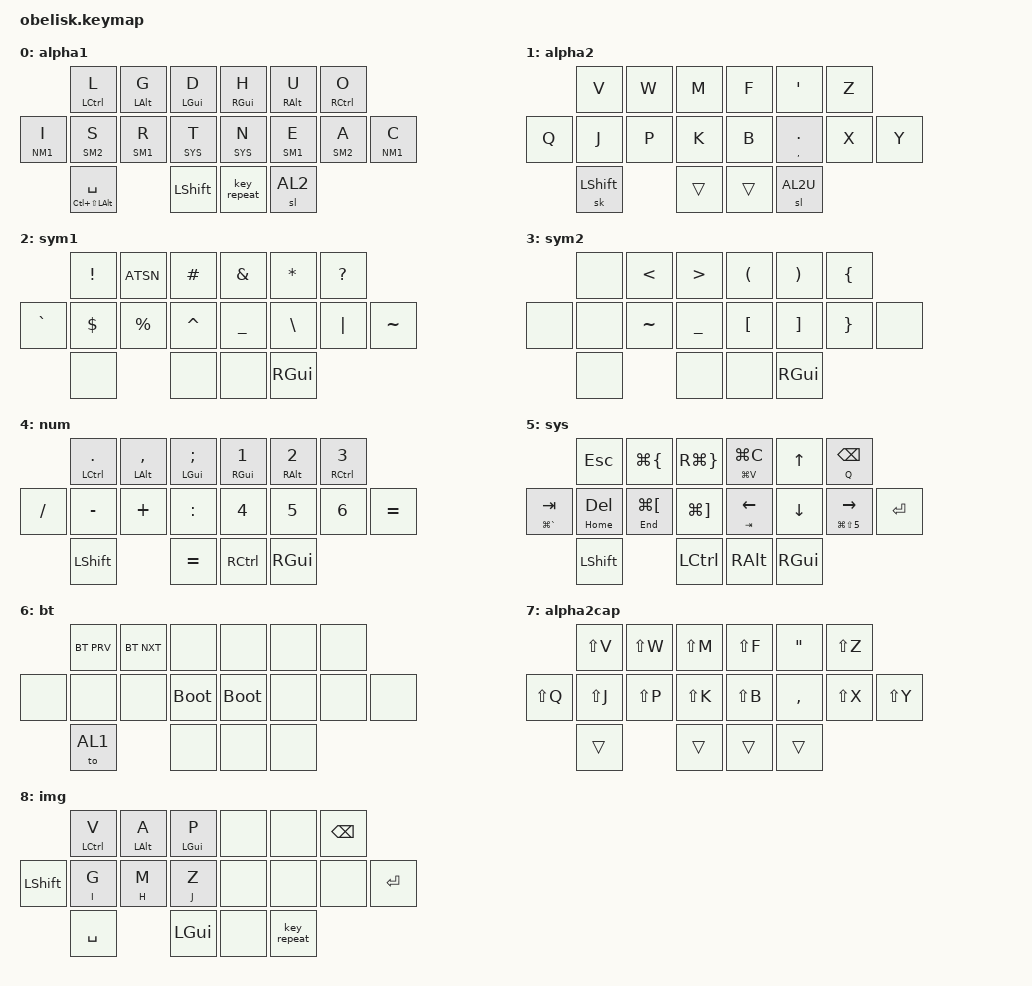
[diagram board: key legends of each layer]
/*
 * Copyright (c) 2020 The ZMK Contributors
 *
 * SPDX-License-Identifier: MIT
 */

#include <behaviors.dtsi>
#include <dt-bindings/zmk/keys.h>
#include <dt-bindings/zmk/bt.h>
#include <dt-bindings/zmk/mouse.h>



&mt {
	tapping-term-ms = <250>;
	flavor = "tap-preferred";
};
&sk {
	release-after-ms = <2000>;
	quick-release;
};

/* Layers */
#define AL1 0
#define AL2 1
#define SM1 2
#define SM2 3	
#define NM1 4	
#define SYS 5
#define BT 6	
#define AL2U 7
#define IMG 8
/ { 
	combos {
		compatible = "zmk,combos";
		combo_sys {
			timeout-ms = <30>;
			key-positions = <3 4 5>;
			bindings = <&tog SYS>;
		};
		/* combo_img { */
		/* 	timeout-ms = <30>; */
		/* 	key-positions = <0 1 2>; */
		/* 	bindings = <&tog IMG>; */
		/* }; */
		combo_caps {
			timeout-ms = <30>;
			key-positions = <10 11 12>;
			bindings = <&caps_word>;
		};
		combo_bt  {
			timeout-ms = <10>;
			key-positions = <10 12>;
			bindings = <&to BT>;
			layers = <SM1>; 
		};
		lalt {
			timeout-ms = <20>;
			key-positions = <8 9>;
			bindings = <&kp LALT>; 
			layers = <SYS>; 
		};
		lclk {
			timeout-ms = <20>;
			key-positions = <10 11>;
			bindings = <&mkp LCLK>;
			layers = <SYS>;
		};
		rclk {
			timeout-ms = <20>;
			key-positions = <3 4>;
			bindings = <&mkp RCLK>;
			layers = <SYS>;
		};
		bksp {
			timeout-ms = <50>;
			key-positions = <4 5>;
			bindings = <&kp BKSP>;
			layers = <AL1 AL2 AL2U>;
		};
		ret {
			timeout-ms = <50>;
			key-positions = <11 12>;
			bindings = <&kp RET>;
			layers = <AL1 AL2 AL2U>;
		};
		tab {
			timeout-ms = <50>;
			key-positions = <7 8>;
			bindings = <&kp TAB>;
			layers = <AL1 AL2 AL2U>;
		};
		esc {
			timeout-ms = <50>;
			key-positions = <0 1>;
			bindings = <&kp ESC>;
			layers = <AL1 AL2 AL2U>;
		};
		number_8 {
			timeout-ms = <200>;
			key-positions = <4 5>;
			bindings = <&kp N8>;
			layers = <NM1>;
		};
		number_0 {
			timeout-ms = <200>;
			key-positions = <11 12>;
			bindings = <&kp N0>;
			layers = <NM1 IMG>;
		};
		number_7 {
			timeout-ms = <200>;
			key-positions = <3 4>;
			bindings = <&kp N7>;
			layers = <NM1>;
		};
		number_9 {
			timeout-ms = <200>;
			key-positions = <10 11>;
			bindings = <&kp N9>;
			layers = <NM1>;
		};
	};

	behaviors {
		hm_l: homerow_mods_left {
			compatible = "zmk,behavior-hold-tap";
			label = "HOMEROW_MODS_L";
			#binding-cells = <2>;
			tapping-term-ms = <300>;
			quick-tap-ms = <250>;
			flavor = "tap-preferred";
			bindings = <&kp>, <&kp>;
			hold-trigger-key-positions = <3 4 5 10 11 12 13 14>; // right hand
		};
		hm_r: homerow_mods_right {
			compatible = "zmk,behavior-hold-tap";
			label = "HOMEROW_MODS_R";
			#binding-cells = <2>;
			tapping-term-ms = <300>;
			quick-tap-ms = <250>;
			flavor = "tap-preferred";
			bindings = <&kp>, <&kp>;
			hold-trigger-key-positions = <0 1 2 6 7 8 9>; // left hand
		};
		sr: shift_layer {
			compatible = "zmk,behavior-hold-tap";
			label = "SHIFT_LAYER";
			#binding-cells = <2>;
			tapping-term-ms = <300>;
			quick_tap_ms = <0>;
			flavor = "tap-preferred";
			bindings = <&kp>, <&to>;
			retro-tap;
		};
		hl_l: homerow_layers_left {
			compatible = "zmk,behavior-hold-tap";
			label = "HOMEROW_LAYERS_L";
			#binding-cells = <2>;
			tapping-term-ms = <220>;
			quick-tap-ms = <250>;
			flavor = "tap-preferred";
			bindings = <&mo>, <&kp>;
			hold-trigger-key-positions = <3 4 5 10 11 12 13 14>; // right hand
		};
		hl_r: homerow_layers_right {
			compatible = "zmk,behavior-hold-tap";
			label = "HOMEROW_LAYERS_R";
			#binding-cells = <2>;
			tapping-term-ms = <220>;
			quick-tap-ms = <250>;
			flavor = "tap-preferred";
			bindings = <&mo>, <&kp>;
			hold-trigger-key-positions = <0 1 2 6 7 8 9>; // left hand
		};
		td: tapdance {
			compatible = "zmk,behavior-hold-tap";
			label = "TAPDANCE";
			#binding-cells = <2>;
			tapping-term-ms = <190>;
			quick-tap-ms = <250>;
			flavor = "tap-preferred";
			bindings = <&kp>, <&kp>;
		};
		alpha2macro: behavior_macro_1 {
			compatible = "zmk,behavior-macro";
			label = "MACRO1";
			#binding-cells = <0>;
			bindings = < &sl AL2 >;
		};
		caps_alpha2macro: behavior_macro_2 {
			compatible = "zmk,behavior-macro";
			label = "MACRO2";
			#binding-cells = <0>;
			bindings = < &sl AL2U >;
		};
	};

	//			00	01	02			03	04	05
	//		06	07	08	09			10	11	12	13
	//					14	15	16	17

	keymap {
		compatible = "zmk,keymap";

		alpha1 {
			bindings = <
								&hm_l LCTL L	&hm_l LALT G	&hm_l LGUI D		&hm_r RGUI H	&hm_r RALT U	&hm_r RCTL O	  
				&hl_l NM1 I		&hl_l SM2 S		&hl_l SM1 R		&hl_l SYS T			&hl_r SYS N		&hl_r SM1 E		&hl_r SM2 A		&hl_r NM1 C
								&mt LC(LS(LALT)) SPC			&kp LSHIFT 			&key_repeat	    &sl AL2
			>;
		};

		alpha2 {
			bindings = <
						&kp V	&kp W	&kp M		  &kp F	&kp SQT	       	&kp Z
				&kp Q	&kp J	&kp P	&kp K		&kp B	&td COMMA DOT	&kp X	&kp Y 
						&sk LSHIFT	&trans		&trans	&sl AL2U	
			>;
		};

		sym1 {
			bindings = <
							&kp EXCL	&kp ATSN	&kp HASH		&kp AMPS		&kp STAR		&kp QMARK
				&kp GRAVE	&kp DLLR	&kp PRCNT	&kp CARET		&kp UNDER		&kp BSLH		&kp PIPE &kp TILDE
							&none	&none							&none	&kp RGUI
			>;
		};

		sym2 {
			bindings = <
						&none	&kp LT	&kp GT					&kp LPAR	&kp RPAR	&kp LBRC
				&none	&none	&kp TILDE	&kp UNDER			&kp LBKT	&kp RBKT	&kp RBRC	&none 
						&none	&none							&none	&kp RGUI
			>;
		};

		num {
			bindings = <
							&hm_l LCTL DOT	&hm_l LALT COMMA	&hm_l LGUI SEMI		&hm_r RGUI N1	&hm_r RALT N2	&hm_r RCTL N3
				&kp SLASH	&kp MINUS		&kp PLUS			&kp COLON			&kp N4			&kp N5			&kp N6		&kp EQUAL
							&kp LSHIFT	&kp EQUAL									&kp RCTL	&kp RGUI
			>;
		};

		sys {
			bindings = <
									&kp ESC			&kp LG(LBRC)		&kp RG(RBRC)		&td LG(V) LG(C)		&kp UP		&td Q BKSP
				&td LG(GRAVE) TAB	&td HOME DEL	&td END LG(LBKT)	&kp LG(RBKT)		&td TAB LEFT		&kp DOWN	&td  LG(LS(N5)) RIGHT	&kp RET
									&kp LSHIFT		&kp LCTL								&kp RALT	&kp RGUI
			>;
		};

		bt {
			bindings = <
						&bt BT_PRV	&bt BT_NXT	&none	        &none	    &none	&none
				&none	&none	&none	    &bootloader			&bootloader	&none	&none	&none
						&to AL1		&none				        &none	&none
			>;
		};

		alpha2cap {
			bindings = <
							&kp LS(V)	&kp LS(W)	&kp LS(M)		&kp LS(F)	&kp DQT		&kp LS(Z)
				&kp LS(Q)	&kp LS(J)	&kp LS(P)	&kp LS(K)		&kp LS(B)	&kp COMMA	&kp LS(X)	&kp LS(Y) 
							&trans	&trans							&trans	&trans
			>;
		};

		img {
			bindings = <
							&hm_l LCTL V	&hm_l LALT A	&hm_l LGUI P		&none	&none	&kp BKSP
				&kp LSHIFT  &td I G		&td H M		&td J Z						&none	&none	&none	&kp RET
							&kp SPC		&kp LGUI								&none	&key_repeat
			>;
		};
	};
};
